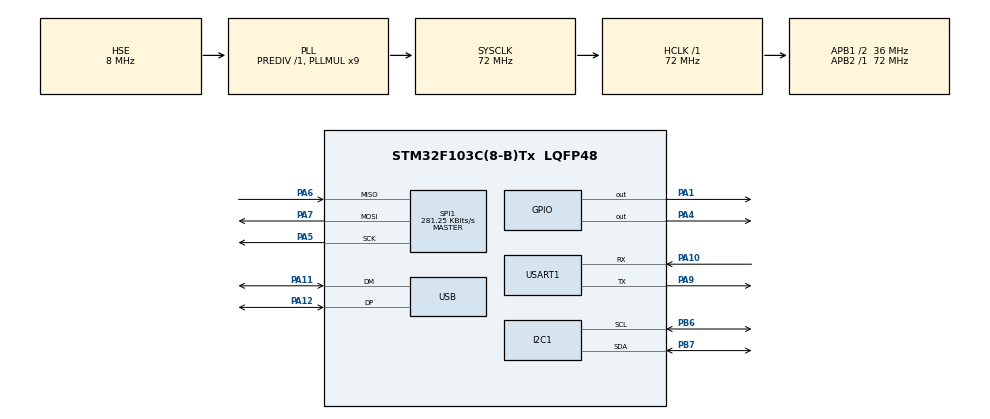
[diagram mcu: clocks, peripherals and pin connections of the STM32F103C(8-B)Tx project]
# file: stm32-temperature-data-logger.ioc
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Mcu.Family=STM32F1
Mcu.Name=STM32F103C(8-B)Tx
Mcu.Package=LQFP48
NVIC.PriorityGroup=NVIC_PRIORITYGROUP_4
NVIC.USART1_IRQn=true\:0\:0\:false\:false\:true\:true\:true\:true
NVIC.USB_LP_CAN1_RX0_IRQn=true\:0\:0\:false\:false\:true\:false\:true\:true
PA1.GPIO_ModeDefaultOutputPP=GPIO_MODE_OUTPUT_OD
PA1.GPIO_PuPd=GPIO_NOPULL
PA1.Signal=GPIO_Output
PA10.Mode=Asynchronous
PA10.Signal=USART1_RX
PA11.Mode=Device
PA11.Signal=USB_DM
PA12.Mode=Device
PA12.Signal=USB_DP
PA4.GPIO_Speed=GPIO_SPEED_FREQ_HIGH
PA4.Signal=GPIO_Output
PA5.Mode=Full_Duplex_Master
PA5.Signal=SPI1_SCK
PA6.Mode=Full_Duplex_Master
PA6.Signal=SPI1_MISO
PA7.Mode=Full_Duplex_Master
PA7.Signal=SPI1_MOSI
PA9.Mode=Asynchronous
PA9.Signal=USART1_TX
PB6.Mode=I2C
PB6.Signal=I2C1_SCL
PB7.Mode=I2C
PB7.Signal=I2C1_SDA
PD0-OSC_IN.Mode=HSE-External-Oscillator
PD0-OSC_IN.Signal=RCC_OSC_IN
PD1-OSC_OUT.Mode=HSE-External-Oscillator
PD1-OSC_OUT.Signal=RCC_OSC_OUT
ProjectManager.HeapSize=0x200
ProjectManager.StackSize=0x400
ProjectManager.TargetToolchain=STM32CubeIDE
RCC.AHBFreq_Value=72000000
RCC.APB1CLKDivider=RCC_HCLK_DIV2
RCC.APB1Freq_Value=36000000
RCC.APB1TimFreq_Value=72000000
RCC.APB2Freq_Value=72000000
RCC.APB2TimFreq_Value=72000000
RCC.HCLKFreq_Value=72000000
RCC.PLLMUL=RCC_PLL_MUL9
RCC.PLLSourceVirtual=RCC_PLLSOURCE_HSE
RCC.SYSCLKFreq_VALUE=72000000
RCC.SYSCLKSource=RCC_SYSCLKSOURCE_PLLCLK
RCC.USBFreq_Value=48000000
RCC.USBPrescaler=RCC_USBCLKSOURCE_PLL_DIV1_5
SPI1.BaudRatePrescaler=SPI_BAUDRATEPRESCALER_256
SPI1.CalculateBaudRate=281.25 KBits/s
SPI1.Direction=SPI_DIRECTION_2LINES
SPI1.Mode=SPI_MODE_MASTER
SPI1.VirtualType=VM_MASTER
TIM4.Prescaler=71
USART1.VirtualMode=VM_ASYNC
USB_DEVICE.CLASS_NAME_FS=MSC
USB_DEVICE.VirtualMode=Msc
USB_DEVICE.VirtualModeFS=Msc_FS
VP_FATFS_VS_Generic.Mode=User_defined
VP_RTC_VS_RTC_Activate.Mode=RTC_Enabled
VP_SYS_VS_ND.Mode=No_Debug
VP_TIM4_VS_ClockSourceINT.Mode=Internal
VP_USB_DEVICE_VS_USB_DEVICE_MSC_FS.Mode=MSC_FS
board=custom

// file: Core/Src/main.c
/* USER CODE BEGIN Header */
/**
  ******************************************************************************
  * @file           : main.c
  * @brief          : Main program body
  ******************************************************************************
  */
/* USER CODE END Header */
#include "main.h"
#include "oled_ui.h"
#include "ssd1306.h"
#include "ds18b20.h"
#include "fatfs.h"
#include "uart1.h"
/* USER CODE BEGIN Includes */
#include "ff.h"
#include <stdio.h>
#include <string.h>
#include "sd_spi_driver.h"
/* USER CODE END Includes */

I2C_HandleTypeDef hi2c1;

RTC_HandleTypeDef hrtc;

SPI_HandleTypeDef hspi1;

TIM_HandleTypeDef htim4;

UART_HandleTypeDef huart1;

/* USER CODE BEGIN PV */

FATFS fs;
FRESULT fr;
static const char *LOG_FILE_NAME = "log.csv";
char sd_buffer[640] = {0};
uint8_t log_counter = 0;
uint32_t lastSDCheck = 0;
/* USER CODE END PV */

void SystemClock_Config(void);
static void MX_GPIO_Init(void);
static void MX_TIM4_Init(void);
static void MX_I2C1_Init(void);
static void MX_SPI1_Init(void);
static void MX_RTC_Init(void);
static void MX_USART1_UART_Init(void);
/* USER CODE BEGIN PFP */

void SPI1_SetSpeed(uint32_t prescaler)
{
    // 1. Tắt ngoại vi SPI1 để đảm bảo an toàn
    __HAL_SPI_DISABLE(&hspi1);

    // 2. Cập nhật lại tham số bộ chia (Prescaler) trong cấu trúc dữ liệu HAL
    hspi1.Init.BaudRatePrescaler = prescaler;

    // 3. Gọi hàm HAL_SPI_Init để HAL tự cấu hình lại các thanh ghi theo đúng trình tự chuẩn
    if (HAL_SPI_Init(&hspi1) != HAL_OK)
    {
        Error_Handler();
    }

    // 4. Bật lại ngoại vi SPI1
    __HAL_SPI_ENABLE(&hspi1);
}

void SD_UpdateUsage(void)
{
    FATFS *pfs;
    DWORD fre_clust;

    if(f_getfree("", &fre_clust, &pfs) != FR_OK)
    {
        OLED_SetSD(OLED_SD_ERROR, 0);
        return;
    }

    DWORD total_clust = pfs->n_fatent - 2;

    uint8_t used_pct =
        (uint8_t)
        (((total_clust - fre_clust) * 100)
         / total_clust);

    OLED_SetSD(OLED_SD_OK, used_pct);
}

void SD_LogTemperature(char *bulk_data)
{
    FIL file;
    UINT bw;

    // Mở file (nếu chưa có thì tạo, có rồi thì mở ra)
    if(f_open(&file, LOG_FILE_NAME, FA_OPEN_ALWAYS | FA_WRITE) == FR_OK)
    {
        // Nhảy đến cuối file để ghi tiếp nối đuôi
        f_lseek(&file, f_size(&file));

        // Ghi một phát toàn bộ 10 dòng trong bộ đệm xuống thẻ SD
        f_write(&file, bulk_data, strlen(bulk_data), &bw);

        // Đóng file để giải phóng tài nguyên
        f_close(&file);
    }
}

/* USER CODE END 0 */

int main(void)
{

  /* MCU Configuration--------------------------------------------------------*/
  HAL_Init();
  SystemClock_Config();

  /* Initialize all configured peripherals */
  MX_GPIO_Init();
  MX_TIM4_Init();
  MX_I2C1_Init();
  MX_SPI1_Init();
  MX_FATFS_Init();
  MX_RTC_Init();
  MX_USART1_UART_Init();

  /* USER CODE BEGIN 2 */
  float temp = 0.0f;
  UART_Command_t cmd;

  UART1_Init();
  SSD1306_Init();
  OLED_SetTemperature(temp);

    fr = f_mount(&fs, "", 1);

  if(fr == FR_OK)
  {
      // --- FIX LỖI 1: TĂNG TỐC ĐỘ ĐỌC GHI THẺ SD ---
      // Sau khi mount thành công, nâng tốc độ SPI lên để đọc ghi file nhanh gấp 32 lần
      SPI1_SetSpeed(SPI_BAUDRATEPRESCALER_8);
      f_unlink(LOG_FILE_NAME);
      SD_UpdateUsage();
  }
  else
  {
      OLED_SetSD(OLED_SD_ERROR, 0);
  }

  uint32_t lastDisplay = 0; // Biến thời gian cho cập nhật hiển thị/nhiệt độ
  lastSDCheck = HAL_GetTick();

  Update_OLED_Display();
  HAL_TIM_Base_Start(&htim4);
  /* USER CODE END 2 */

  /* Infinite loop */
  while (1)
  {
	      if (HAL_GetTick() - lastDisplay >= 1000)
	      {
	          lastDisplay = HAL_GetTick();

	          temp = DS18B20_GetTemp();
	          OLED_SetTemperature(temp);
	          Update_OLED_Display();

	          RTC_TimeTypeDef sTime;
	          RTC_DateTypeDef sDate;
	          HAL_RTC_GetTime(&hrtc, &sTime, RTC_FORMAT_BIN);
	          HAL_RTC_GetDate(&hrtc, &sDate, RTC_FORMAT_BIN);

	          char single_line[64];
	          sprintf(single_line, "20%02d-%02d-%02d %02d:%02d:%02d, %.2f\r\n",
	                  sDate.Year, sDate.Month, sDate.Date,
	                  sTime.Hours, sTime.Minutes, sTime.Seconds, temp);

	          strcat(sd_buffer, single_line);
	          log_counter++;

	          if (log_counter >= 10)
	          {
	              SD_LogTemperature(sd_buffer);

	              memset(sd_buffer, 0, sizeof(sd_buffer));
	              log_counter = 0;
	          }
	      }

	      if (HAL_GetTick() - lastSDCheck >= 300000)
	          {
	              lastSDCheck = HAL_GetTick();

	              if (log_counter < 9)
	              {
	                  SD_UpdateUsage();
	              } else {
	                  lastSDCheck -= 2000;
	              }
	          }

    if (UART1_LineAvailable())
    {
        char *line = UART1_GetLine();

        if (UART1_Parse(line, &cmd))
        {
            switch (cmd.type)
            {
                case CMD_READ:
                {
                    FIL file;
                    char read_buf[128];

                    uint32_t start_line = cmd.value * 10;     // Dòng bắt đầu
                    uint32_t end_line = start_line + 10;      // Dòng kết thúc
                    uint32_t current_line = 0;                // Bộ đếm dòng hiện hành

                    printf("--- START READING LINES %lu TO %lu ---\r\n", start_line, end_line - 1);

                    FRESULT res = f_open(&file, LOG_FILE_NAME, FA_READ);
                                        if (res == FR_OK)
                                        {
                                            while (f_gets(read_buf, sizeof(read_buf), &file) != NULL)
                                            {
                                                if (current_line >= start_line && current_line < end_line)
                                                {
                                                    printf("%s", read_buf);
                                                }
                                                current_line++;
                                                if (current_line >= end_line) break;
                                            }
                                            f_close(&file);

                                            if (current_line <= start_line)  printf("--- END OF FILE ---\r\n");
                                            else                             printf("--- DONE ---\r\n");
                                        }
                                        else
                                        {
                                            // In ra mã lỗi cụ thể (Ví dụ: số 4 là FR_NO_FILE, số 1 là FR_DISK_ERR,...)
                                            printf("Error: Could not open %s. FatFS Code: %d\r\n", LOG_FILE_NAME, res);
                                        }
                                        break;
                                    }

                case CMD_RTC_SET:
                {
                    RTC_TimeTypeDef sTime = {0};
                    RTC_DateTypeDef sDate = {0};

                    if (cmd.year >= 2000) {
                        sDate.Year = cmd.year - 2000;
                    } else {
                        sDate.Year = cmd.year;
                    }
                    sDate.Month = cmd.month;
                    sDate.Date = cmd.day;

                    sTime.Hours = cmd.hour;
                    sTime.Minutes = cmd.minute;
                    sTime.Seconds = cmd.second;

                    HAL_RTC_SetDate(&hrtc, &sDate, RTC_FORMAT_BIN);
                    HAL_RTC_SetTime(&hrtc, &sTime, RTC_FORMAT_BIN);

                    printf("System RTC Updated to: 20%02d-%02d-%02d %02d:%02d:%02d\r\n",
                           sDate.Year, sDate.Month, sDate.Date,
                           sTime.Hours, sTime.Minutes, sTime.Seconds);
                    break;
                }

                default:
                    printf("Unknown Command\r\n");
                    break;
            }
        }
        else
        {
            printf("Parse Error: Invalid format\r\n");
        }
    }
  }
  /* USER CODE END 3 */
}

void SystemClock_Config(void)
{
  RCC_OscInitTypeDef RCC_OscInitStruct = {0};
  RCC_ClkInitTypeDef RCC_ClkInitStruct = {0};
  RCC_PeriphCLKInitTypeDef PeriphClkInit = {0};

  /** Initializes the RCC Oscillators according to the specified parameters
  * in the RCC_OscInitTypeDef structure.
  */
  RCC_OscInitStruct.OscillatorType = RCC_OSCILLATORTYPE_LSI|RCC_OSCILLATORTYPE_HSE;
  RCC_OscInitStruct.HSEState = RCC_HSE_ON;
  RCC_OscInitStruct.HSEPredivValue = RCC_HSE_PREDIV_DIV1;
  RCC_OscInitStruct.HSIState = RCC_HSI_ON;
  RCC_OscInitStruct.LSIState = RCC_LSI_ON;
  RCC_OscInitStruct.PLL.PLLState = RCC_PLL_ON;
  RCC_OscInitStruct.PLL.PLLSource = RCC_PLLSOURCE_HSE;
  RCC_OscInitStruct.PLL.PLLMUL = RCC_PLL_MUL9;
  if (HAL_RCC_OscConfig(&RCC_OscInitStruct) != HAL_OK)
  {
    Error_Handler();
  }

  /** Initializes the CPU, AHB and APB buses clocks
  */
  RCC_ClkInitStruct.ClockType = RCC_CLOCKTYPE_HCLK|RCC_CLOCKTYPE_SYSCLK
                              |RCC_CLOCKTYPE_PCLK1|RCC_CLOCKTYPE_PCLK2;
  RCC_ClkInitStruct.SYSCLKSource = RCC_SYSCLKSOURCE_PLLCLK;
  RCC_ClkInitStruct.AHBCLKDivider = RCC_SYSCLK_DIV1;
  RCC_ClkInitStruct.APB1CLKDivider = RCC_HCLK_DIV2;
  RCC_ClkInitStruct.APB2CLKDivider = RCC_HCLK_DIV1;

  if (HAL_RCC_ClockConfig(&RCC_ClkInitStruct, FLASH_LATENCY_2) != HAL_OK)
  {
    Error_Handler();
  }
  PeriphClkInit.PeriphClockSelection = RCC_PERIPHCLK_RTC;
  PeriphClkInit.RTCClockSelection = RCC_RTCCLKSOURCE_LSI;
  if (HAL_RCCEx_PeriphCLKConfig(&PeriphClkInit) != HAL_OK)
  {
    Error_Handler();
  }
}

static void MX_I2C1_Init(void)
{

  hi2c1.Instance = I2C1;
  hi2c1.Init.ClockSpeed = 100000;
  hi2c1.Init.DutyCycle = I2C_DUTYCYCLE_2;
  hi2c1.Init.OwnAddress1 = 0;
  hi2c1.Init.AddressingMode = I2C_ADDRESSINGMODE_7BIT;
  hi2c1.Init.DualAddressMode = I2C_DUALADDRESS_DISABLE;
  hi2c1.Init.OwnAddress2 = 0;
  hi2c1.Init.GeneralCallMode = I2C_GENERALCALL_DISABLE;
  hi2c1.Init.NoStretchMode = I2C_NOSTRETCH_DISABLE;
  if (HAL_I2C_Init(&hi2c1) != HAL_OK)
  {
    Error_Handler();
  }

}

static void MX_RTC_Init(void)
{

  /** Initialize RTC Only
  */
  hrtc.Instance = RTC;
  hrtc.Init.AsynchPrediv = RTC_AUTO_1_SECOND;
  hrtc.Init.OutPut = RTC_OUTPUTSOURCE_ALARM;
  if (HAL_RTC_Init(&hrtc) != HAL_OK)
  {
    Error_Handler();
  }

}

static void MX_SPI1_Init(void)
{

  /* SPI1 parameter configuration*/
  hspi1.Instance = SPI1;
  hspi1.Init.Mode = SPI_MODE_MASTER;
  hspi1.Init.Direction = SPI_DIRECTION_2LINES;
  hspi1.Init.DataSize = SPI_DATASIZE_8BIT;
  hspi1.Init.CLKPolarity = SPI_POLARITY_LOW;
  hspi1.Init.CLKPhase = SPI_PHASE_1EDGE;
  hspi1.Init.NSS = SPI_NSS_SOFT;
  hspi1.Init.BaudRatePrescaler = SPI_BAUDRATEPRESCALER_256;
  hspi1.Init.FirstBit = SPI_FIRSTBIT_MSB;
  hspi1.Init.TIMode = SPI_TIMODE_DISABLE;
  hspi1.Init.CRCCalculation = SPI_CRCCALCULATION_DISABLE;
  hspi1.Init.CRCPolynomial = 10;
  if (HAL_SPI_Init(&hspi1) != HAL_OK)
  {
    Error_Handler();
  }

}

static void MX_TIM4_Init(void)
{

  TIM_ClockConfigTypeDef sClockSourceConfig = {0};
  TIM_MasterConfigTypeDef sMasterConfig = {0};

  htim4.Instance = TIM4;
  htim4.Init.Prescaler = 71;
  htim4.Init.CounterMode = TIM_COUNTERMODE_UP;
  htim4.Init.Period = 65535;
  htim4.Init.ClockDivision = TIM_CLOCKDIVISION_DIV1;
  htim4.Init.AutoReloadPreload = TIM_AUTORELOAD_PRELOAD_DISABLE;
  if (HAL_TIM_Base_Init(&htim4) != HAL_OK)
  {
    Error_Handler();
  }
  sClockSourceConfig.ClockSource = TIM_CLOCKSOURCE_INTERNAL;
  if (HAL_TIM_ConfigClockSource(&htim4, &sClockSourceConfig) != HAL_OK)
  {
    Error_Handler();
  }
  sMasterConfig.MasterOutputTrigger = TIM_TRGO_RESET;
  sMasterConfig.MasterSlaveMode = TIM_MASTERSLAVEMODE_DISABLE;
  if (HAL_TIMEx_MasterConfigSynchronization(&htim4, &sMasterConfig) != HAL_OK)
  {
    Error_Handler();
  }

}

static void MX_USART1_UART_Init(void)
{

  huart1.Instance = USART1;
  huart1.Init.BaudRate = 115200;
  huart1.Init.WordLength = UART_WORDLENGTH_8B;
  huart1.Init.StopBits = UART_STOPBITS_1;
  huart1.Init.Parity = UART_PARITY_NONE;
  huart1.Init.Mode = UART_MODE_TX_RX;
  huart1.Init.HwFlowCtl = UART_HWCONTROL_NONE;
  huart1.Init.OverSampling = UART_OVERSAMPLING_16;
  if (HAL_UART_Init(&huart1) != HAL_OK)
  {
    Error_Handler();
  }

}

static void MX_GPIO_Init(void)
{
  GPIO_InitTypeDef GPIO_InitStruct = {0};

  /* GPIO Ports Clock Enable */
  __HAL_RCC_GPIOD_CLK_ENABLE();
  __HAL_RCC_GPIOA_CLK_ENABLE();
  __HAL_RCC_GPIOB_CLK_ENABLE();

  /*Configure GPIO pin Output Level */
  HAL_GPIO_WritePin(GPIOA, GPIO_PIN_1|GPIO_PIN_4, GPIO_PIN_RESET);

  /*Configure GPIO pin : PA1 */
  GPIO_InitStruct.Pin = GPIO_PIN_1;
  GPIO_InitStruct.Mode = GPIO_MODE_OUTPUT_OD;
  GPIO_InitStruct.Pull = GPIO_NOPULL;
  GPIO_InitStruct.Speed = GPIO_SPEED_FREQ_LOW;
  HAL_GPIO_Init(GPIOA, &GPIO_InitStruct);

  /*Configure GPIO pin : PA4 */
  GPIO_InitStruct.Pin = GPIO_PIN_4;
  GPIO_InitStruct.Mode = GPIO_MODE_OUTPUT_PP;
  GPIO_InitStruct.Pull = GPIO_NOPULL;
  GPIO_InitStruct.Speed = GPIO_SPEED_FREQ_HIGH;
  HAL_GPIO_Init(GPIOA, &GPIO_InitStruct);

}

void Error_Handler(void)
{
  __disable_irq();
  while (1)
  {
  }
}
